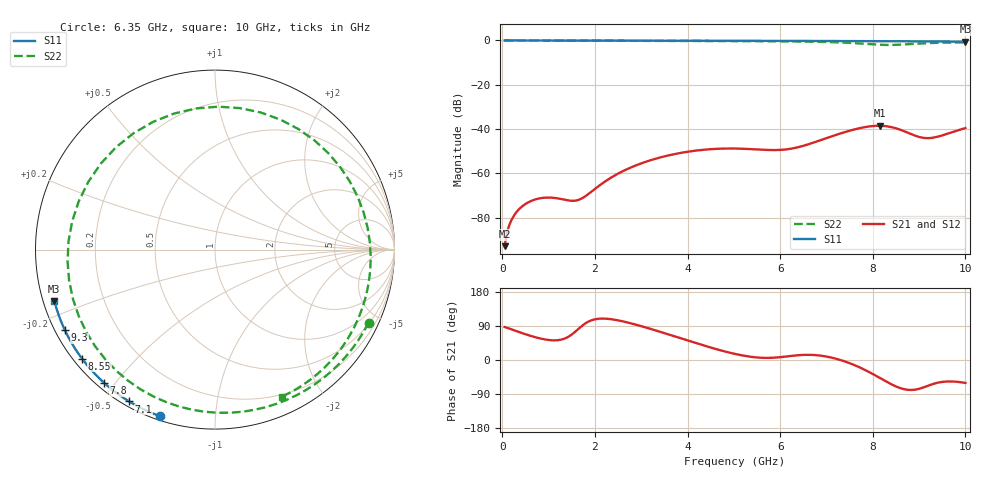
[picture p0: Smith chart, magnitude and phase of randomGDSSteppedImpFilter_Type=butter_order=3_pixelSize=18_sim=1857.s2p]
! freq	dB(S11)	phase(S11)	dB(S12)	phase(S12)
!  dB(S21)	phase(S21)	dB(S22)	phase(S22)
!S-par simulation data
#  GHz  S  DB  R 50
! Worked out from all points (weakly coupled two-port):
!   200 points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, 50 MHz to 10 GHz, reference 50 ohm
!   highest |S21| = -38.54 dB at 8.15 GHz (marker M1); lowest = -92.9 dB at 50 MHz (marker M2)
!   lowest |S11| = -0.5 dB at 10 GHz (marker M3), VSWR 32.09, Z = 1.6 - j7.79 ohm
!   |S11| at or under -10 dB: nowhere
!   |S22| runs from -2.0 to 0.0 dB; largest |S21 - S12| = 0
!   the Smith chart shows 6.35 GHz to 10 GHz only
!   S11 on the Smith chart (normalised r, x): 6.35 GHz: 0.02, -0.72; 7.1 GHz: 0.02, -0.58; 7.8 GHz: 0.02, -0.47; 8.55 GHz: 0.02, -0.36; 9.3 GHz: 0.03, -0.25; 10 GHz: 0.03, -0.16
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0.05  -0.00 -0.9  -92.94 87.1  -92.94 87.1  -0.00 -3.7
0.2  -0.00 -3.8  -81.04 80.8  -81.04 80.8  -0.02 -14.8
0.45  -0.01 -8.4  -74.62 70.0  -74.62 70.0  -0.05 -33.0
0.9  -0.02 -16.8  -71.06 54.7  -71.06 54.7  -0.08 -64.6
1.3  -0.03 -24.2  -71.76 54.7  -71.76 54.7  -0.11 -91.0
1.75  -0.04 -32.4  -70.97 92.9  -70.97 92.9  -0.14 -118.8
2.6  -0.06 -47.5  -59.08 102.0  -59.08 102.0  -0.17 -166.9
3.4  -0.08 -61.3  -52.91 74.7  -52.91 74.7  -0.20 150.1
4.25  -0.11 -75.5  -49.60 42.1  -49.60 42.1  -0.25 103.3
5.05  -0.14 -88.3  -48.84 15.4  -48.84 15.4  -0.30 56.7
5.75  -0.17 -99.2  -49.48 5.6  -49.48 5.6  -0.37 13.6
6.35  -0.20 -108.3  -48.42 12.2  -48.42 12.2  -0.47 -25.4
6.7  -0.22 -113.5  -46.29 13.4  -46.29 13.4  -0.57 -49.8
7.1  -0.25 -119.5  -43.41 6.5  -43.41 6.5  -0.76 -80.7
7.45  -0.27 -124.6  -41.07 -6.1  -41.07 -6.1  -1.04 -112.8
7.8  -0.30 -129.7  -39.27 -24.3  -39.27 -24.3  -1.46 -153.9
8.15  -0.33 -134.8  -38.54 -47.2  -38.54 -47.2  -1.93 151.8
8.35  -0.35 -137.8  -38.93 -60.8  -38.93 -60.8  -2.04 115.9
8.55  -0.37 -140.7  -40.01 -72.2  -40.01 -72.2  -1.93 80.0
8.9  -0.41 -145.8  -42.90 -78.5  -42.90 -78.5  -1.50 26.6
9.3  -0.45 -151.7  -43.92 -63.3  -43.92 -63.3  -1.11 -16.8
10  -0.54 -162.3  -39.59 -60.5  -39.59 -60.5  -0.91 -65.5
